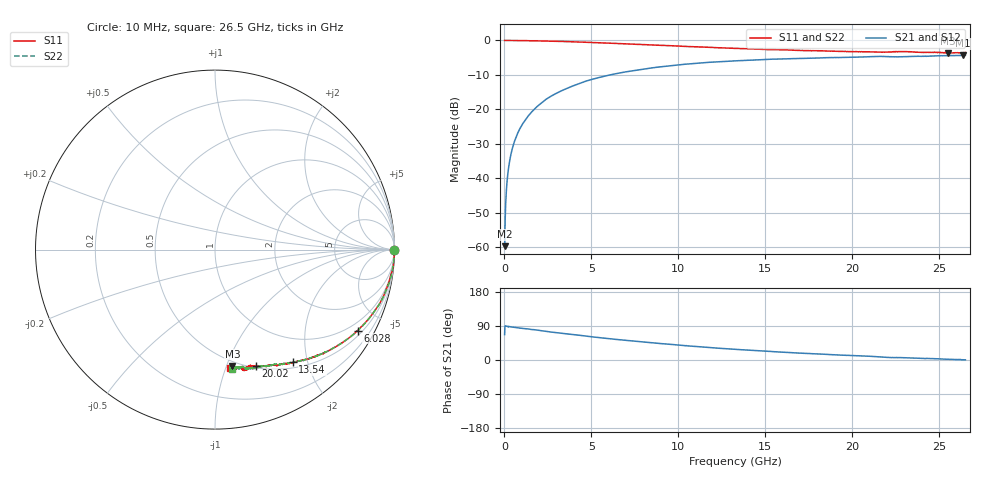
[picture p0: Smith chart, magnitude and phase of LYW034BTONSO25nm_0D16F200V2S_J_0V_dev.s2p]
!Keysight Technologies,N5222B,MY61253708,A.15.00.15
!Date: Wednesday, June 19, 2024 08:36:17
!Correction: S11(C  2-Port  )
!S21(C  2-Port  )
!S12(C  2-Port  )
!S22(C  2-Port  )
!S2P File: Measurements: S11, S21, S12, S22:
# Hz S  RI  R 50
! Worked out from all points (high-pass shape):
!   2651 points, 10 MHz to 26.5 GHz, reference 50 ohm
!   highest |S21| = -4.27 dB at 26.38 GHz (marker M1); lowest = -59.6 dB at 10 MHz (marker M2)
!   |S21| within 3 dB of the highest: 9.633 GHz to end of sweep
!   lowest |S11| = -3.7 dB at 25.49 GHz (marker M3), VSWR 4.80, Z = 23.1 - j52.4 ohm
!   |S11| at or under -10 dB: nowhere
!   |S22| runs from -3.5 to 0.0 dB; largest |S21 - S12| = 0.01
!   S11 on the Smith chart (normalised r, x): 10 MHz: open; 6.028 GHz: 0.67, -3.67; 13.54 GHz: 0.59, -1.76; 20.02 GHz: 0.52, -1.27; 26.5 GHz: 0.43, -1.03
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1e7  0.9989 -0.00212  0.000406 0.000961  -0.000223 0.000782  0.9987 -0.000933
7.997358e7  0.9997 -0.00784  4.46e-05 0.00478  5.5e-05 0.0048  0.9993 -0.00735
1.699396e8  0.9996 -0.0165  0.000222 0.0102  0.000229 0.0102  0.9994 -0.0157
2.199208e8  0.999 -0.0214  0.000716 0.0131  0.000725 0.0132  0.9986 -0.0205
2.798981e8  0.9993 -0.027  0.000603 0.0168  0.000621 0.0167  0.9992 -0.026
3.898566e8  0.9984 -0.0376  0.00108 0.0233  0.00109 0.0233  0.9983 -0.0364
5.198075e8  0.9976 -0.0491  0.0019 0.031  0.00185 0.031  0.998 -0.0484
8.896679e8  0.9936 -0.084  0.00546 0.0526  0.00541 0.0527  0.9932 -0.0824
1.479445e9  0.9801 -0.1386  0.0135 0.0863  0.0135 0.0862  0.9834 -0.1343
2.319128e9  0.9586 -0.2078  0.032 0.132  0.0321 0.132  0.9603 -0.2077
3.208792e9  0.9291 -0.2787  0.0605 0.1725  0.0603 0.1725  0.93 -0.277
4.428332e9  0.8743 -0.3631  0.1049 0.2212  0.1049 0.2214  0.8768 -0.3597
6.027728e9  0.7943 -0.4514  0.1751 0.2616  0.1755 0.2617  0.7979 -0.4495
8.846664e9  0.6465 -0.5558  0.2961 0.2857  0.2965 0.2854  0.6499 -0.5535
1.3255e10  0.4461 -0.6255  0.4456 0.2397  0.4462 0.2388  0.4515 -0.6245
1.354489e10  0.4339 -0.6276  0.4525 0.2339  0.4529 0.2338  0.439 -0.6278
1.767333e10  0.2906 -0.648  0.5299 0.159  0.5315 0.1571  0.3032 -0.6484
2.002245e10  0.2273 -0.6492  0.5586 0.1161  0.5598 0.1129  0.2419 -0.6537
2.209166e10  0.1889 -0.6492  0.5784 0.0685  0.5781 0.0666  0.1841 -0.6577
2.549038e10  0.0965 -0.6482  0.6028 0.0191  0.602 0.0211  0.1161 -0.6594
2.638005e10  0.0854 -0.6599  0.6119 0.00588  0.6051 0.00797  0.093 -0.6663
2.65e10  0.0825 -0.6621  0.6117 0.00542  0.6088 0.0036  0.0928 -0.6661
